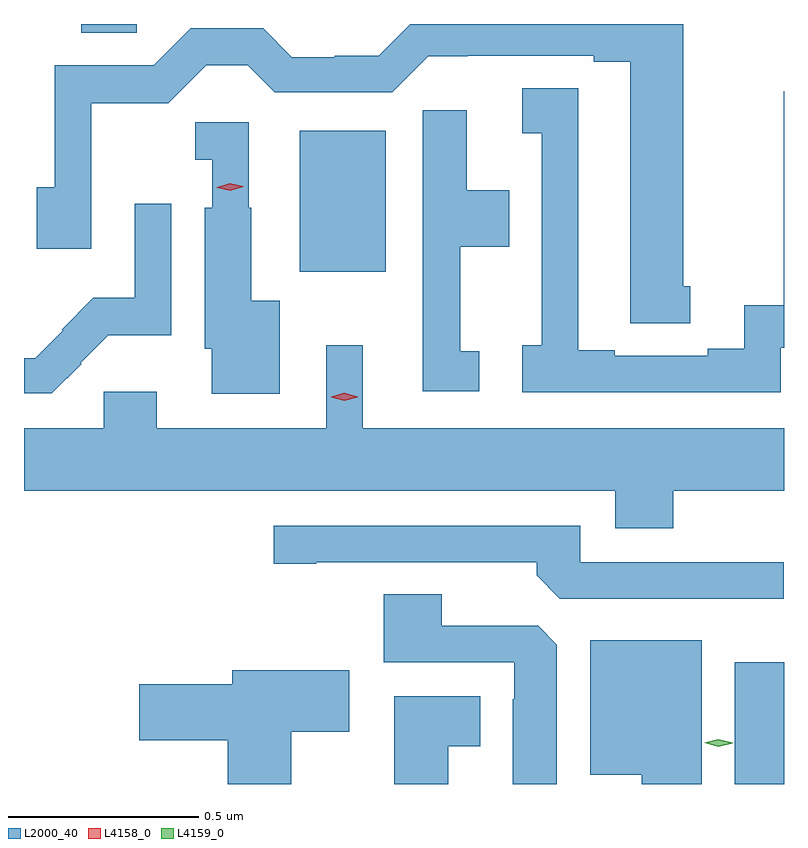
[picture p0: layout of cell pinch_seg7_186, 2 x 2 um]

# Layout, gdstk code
import gdstk
lib = gdstk.Library(unit=1e-6, precision=1e-09)
def R(c, l, rs):  # rectangles x0, y0, x1, y1
    for r in rs: c.add(gdstk.rectangle(r[:2], r[2:], *l))
def P(c, l, *ps):  # polygons
    for p in ps: c.add(gdstk.Polygon(p, *l))
L2000_40 = (2000, 40)
L4158_0 = (4158, 0)
L4159_0 = (4159, 0)

pinch_seg7_186 = lib.new_cell('pinch_seg7_186')
R(pinch_seg7_186, L2000_40, [(1084.208,1031.812,1084.337,1032.132), (1083.062,1033.16,1083.289,1033.531), (1082.488,1033.789,1082.634,1033.812)])
P(pinch_seg7_186, L2000_40, [(1084.09,1033.122),(1084.072,1033.122),(1084.072,1033.812),(1083.354,1033.812),(1083.27,1033.728),(1083.155,1033.728),(1083.155,1033.725),(1083.042,1033.725),(1082.966,1033.801),(1082.776,1033.801),(1082.679,1033.704),(1082.418,1033.704),(1082.418,1033.382),(1082.371,1033.382),(1082.371,1033.221),(1082.514,1033.221),(1082.514,1033.603),(1082.716,1033.603),(1082.816,1033.704),(1082.926,1033.704),(1082.997,1033.632),(1083.306,1033.632),(1083.401,1033.727),(1083.505,1033.727),(1083.505,1033.728),(1083.836,1033.728),(1083.836,1033.713),(1083.932,1033.713),(1083.932,1033.132),(1083.933,1033.132),(1083.933,1033.024),(1084.09,1033.024)],
  [(1084.329,1032.96),(1084.337,1032.96),(1084.337,1033.635),(1084.336,1033.635),(1084.336,1033.072),(1084.232,1033.072),(1084.232,1032.958),(1084.136,1032.958),(1084.136,1032.939),(1083.892,1032.939),(1083.892,1032.954),(1083.796,1032.954),(1083.796,1033.535),(1083.795,1033.535),(1083.795,1033.643),(1083.648,1033.643),(1083.648,1033.525),(1083.699,1033.525),(1083.699,1032.967),(1083.648,1032.967),(1083.648,1032.843),(1084.329,1032.843)],
  [(1083.535,1032.951),(1083.485,1032.951),(1083.485,1033.226),(1083.614,1033.226),(1083.614,1033.374),(1083.502,1033.374),(1083.502,1033.585),(1083.386,1033.585),(1083.386,1032.846),(1083.535,1032.846)],
  [(1083.01,1033.084),(1082.935,1033.084),(1082.935,1033.329),(1082.929,1033.329),(1082.929,1033.554),(1082.787,1033.554),(1082.787,1033.455),(1082.832,1033.455),(1082.832,1033.329),(1082.813,1033.329),(1082.813,1032.957),(1082.831,1032.957),(1082.831,1032.839),(1083.01,1032.839)],
  [(1082.488,1032.917),(1082.486,1032.92),(1082.559,1032.993),(1082.724,1032.993),(1082.724,1033.339),(1082.628,1033.339),(1082.628,1033.091),(1082.519,1033.091),(1082.436,1033.008),(1082.439,1033.005),(1082.367,1032.933),(1082.337,1032.933),(1082.337,1032.84),(1082.41,1032.84)],
  [(1084.046,1032.584),(1084.337,1032.584),(1084.337,1032.748),(1083.229,1032.748),(1083.229,1032.967),(1083.132,1032.967),(1083.132,1032.748),(1082.686,1032.748),(1082.686,1032.844),(1082.547,1032.844),(1082.547,1032.748),(1082.337,1032.748),(1082.337,1032.584),(1083.893,1032.584),(1083.893,1032.485),(1084.046,1032.485)],
  [(1084.336,1032.396),(1083.801,1032.396),(1083.801,1032.492),(1082.994,1032.492),(1082.994,1032.391),(1083.106,1032.391),(1083.106,1032.396),(1083.686,1032.396),(1083.686,1032.362),(1083.747,1032.3),(1084.336,1032.3)],
  [(1083.739,1032.179),(1083.69,1032.228),(1083.436,1032.228),(1083.436,1032.311),(1083.284,1032.311),(1083.284,1032.132),(1083.627,1032.132),(1083.627,1032.035),(1083.623,1032.035),(1083.623,1031.812),(1083.739,1031.812)],
  [(1084.12,1032.19),(1083.827,1032.19),(1083.827,1031.837),(1083.962,1031.837),(1083.962,1031.812),(1084.12,1031.812)],
  [(1083.04,1031.95),(1083.193,1031.95),(1083.193,1032.112),(1082.885,1032.112),(1082.885,1032.074),(1082.64,1032.074),(1082.64,1031.927),(1082.873,1031.927),(1082.873,1031.812),(1083.04,1031.812)],
  [(1083.454,1031.912),(1083.538,1031.912),(1083.538,1032.043),(1083.311,1032.043),(1083.311,1031.812),(1083.454,1031.812)])
P(pinch_seg7_186, L4158_0, [(1083.18,1032.821),(1083.145,1032.83),(1083.145,1032.831),(1083.145,1032.831),(1083.18,1032.841),(1083.215,1032.831),(1083.215,1032.831),(1083.215,1032.83)],
  [(1082.88,1033.373),(1082.845,1033.381),(1082.844,1033.381),(1082.845,1033.382),(1082.879,1033.393),(1082.914,1033.385),(1082.914,1033.384),(1082.914,1033.384)])
P(pinch_seg7_186, L4159_0, [(1084.164,1031.91),(1084.127,1031.921),(1084.126,1031.921),(1084.127,1031.921),(1084.164,1031.93),(1084.202,1031.92),(1084.202,1031.919),(1084.202,1031.919)])

lib.write_gds('pinch_seg7_186.gds')
